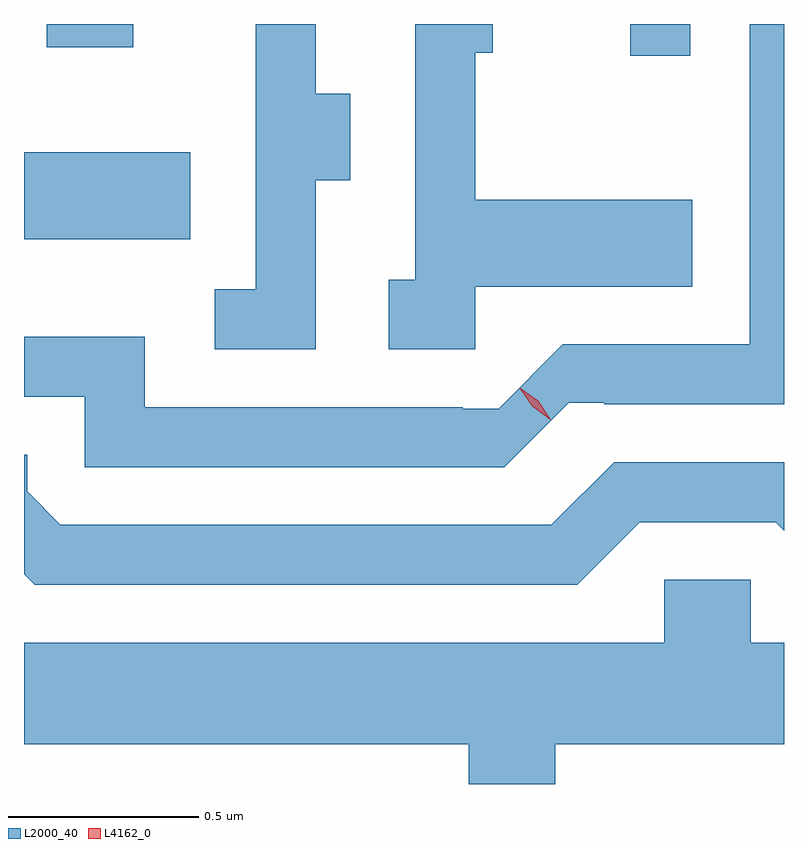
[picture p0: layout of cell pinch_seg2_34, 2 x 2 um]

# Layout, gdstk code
import gdstk
lib = gdstk.Library(unit=1e-6, precision=1e-09)
def R(c, l, rs):  # rectangles x0, y0, x1, y1
    for r in rs: c.add(gdstk.rectangle(r[:2], r[2:], *l))
def P(c, l, *ps):  # polygons
    for p in ps: c.add(gdstk.Polygon(p, *l))
L2000_40 = (2000, 40)
L4162_0 = (4162, 0)

pinch_seg2_34 = lib.new_cell('pinch_seg2_34')
R(pinch_seg2_34, L2000_40, [(1665.681,1040.766,1666.119,1040.994), (1667.276,1041.248,1667.434,1041.332), (1665.741,1041.271,1665.969,1041.332)])
P(pinch_seg2_34, L2000_40, [(1667.114,1040.335),(1667.208,1040.335),(1667.208,1040.331),(1667.681,1040.331),(1667.681,1041.332),(1667.591,1041.332),(1667.591,1040.489),(1667.099,1040.489),(1666.93,1040.32),(1666.835,1040.32),(1666.835,1040.324),(1665.999,1040.324),(1665.999,1040.509),(1665.681,1040.509),(1665.681,1040.351),(1665.841,1040.351),(1665.841,1040.166),(1666.945,1040.166)],
  [(1666.869,1040.641),(1667.439,1040.641),(1667.439,1040.869),(1666.869,1040.869),(1666.869,1041.256),(1666.914,1041.256),(1666.914,1041.332),(1666.711,1041.332),(1666.711,1040.659),(1666.641,1040.659),(1666.641,1040.476),(1666.869,1040.476)],
  [(1666.449,1040.921),(1666.539,1040.921),(1666.539,1041.149),(1666.449,1041.149),(1666.449,1041.332),(1666.291,1041.332),(1666.291,1040.634),(1666.183,1040.634),(1666.183,1040.476),(1666.449,1040.476)],
  [(1667.302,1040.021),(1667.659,1040.021),(1667.681,1039.999),(1667.681,1040.179),(1667.234,1040.179),(1667.069,1040.014),(1665.777,1040.014),(1665.689,1040.102),(1665.689,1040.199),(1665.681,1040.199),(1665.681,1039.884),(1665.709,1039.856),(1667.137,1039.856)],
  [(1667.079,1039.436),(1667.681,1039.436),(1667.681,1039.704),(1667.594,1039.704),(1667.594,1039.869),(1667.366,1039.869),(1667.366,1039.704),(1665.681,1039.704),(1665.681,1039.436),(1666.851,1039.436),(1666.851,1039.332),(1667.079,1039.332)])
P(pinch_seg2_34, L4162_0, [(1667.066,1040.29),(1667.019,1040.326),(1666.986,1040.374),(1666.986,1040.375),(1666.986,1040.375),(1667.034,1040.339),(1667.067,1040.291),(1667.067,1040.29)],
  [(1667.064,1040.294),(1667.02,1040.326),(1666.989,1040.371),(1666.989,1040.372),(1666.99,1040.372),(1667.034,1040.34),(1667.065,1040.294),(1667.065,1040.294)])

lib.write_gds('pinch_seg2_34.gds')
